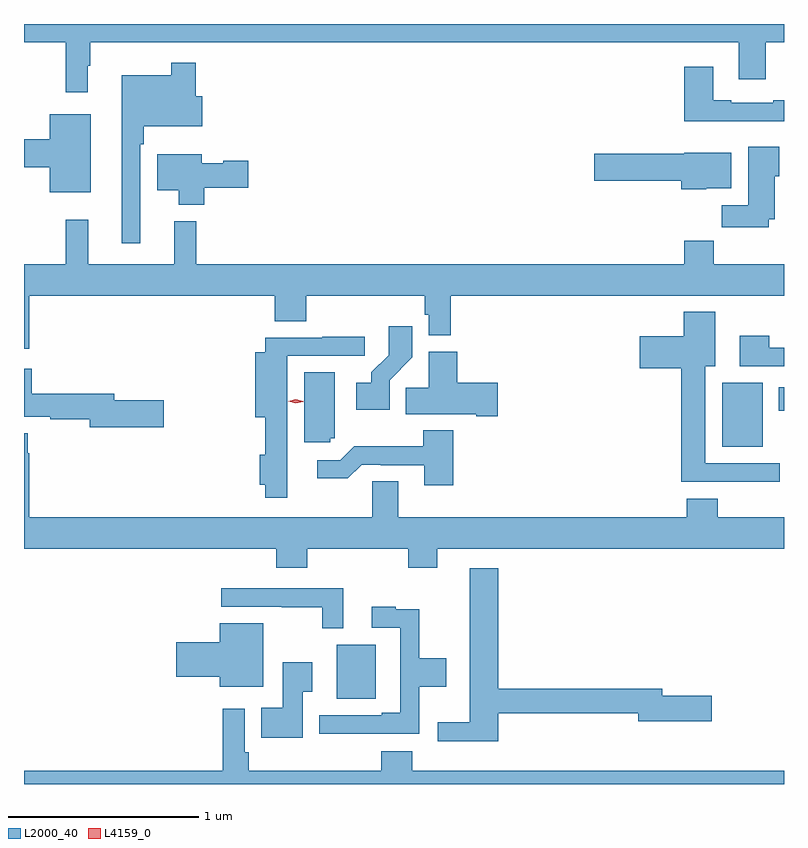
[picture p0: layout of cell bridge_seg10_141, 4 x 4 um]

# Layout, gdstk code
import gdstk
lib = gdstk.Library(unit=1e-6, precision=1e-09)
def R(c, l, rs):  # rectangles x0, y0, x1, y1
    for r in rs: c.add(gdstk.rectangle(r[:2], r[2:], *l))
def P(c, l, *ps):  # polygons
    for p in ps: c.add(gdstk.Polygon(p, *l))
L2000_40 = (2000, 40)
L4159_0 = (4159, 0)

bridge_seg10_141 = lib.new_cell('bridge_seg10_141')
R(bridge_seg10_141, L2000_40, [(335.363,1302.191,335.569,1302.475), (337.394,1303.517,337.606,1303.852), (337.691,1303.706,337.718,1303.828)])
P(bridge_seg10_141, L2000_40, [(333.718,1305.644),(333.937,1305.644),(333.937,1305.381),(334.054,1305.381),(334.054,1305.521),(334.066,1305.521),(334.066,1305.644),(337.481,1305.644),(337.481,1305.45),(337.621,1305.45),(337.621,1305.644),(337.718,1305.644),(337.718,1305.741),(333.718,1305.741)],
  [(334.329,1305.107),(334.349,1305.107),(334.349,1305.203),(334.657,1305.203),(334.657,1305.361),(334.622,1305.361),(334.622,1305.538),(334.494,1305.538),(334.494,1305.472),(334.232,1305.472),(334.232,1304.586),(334.329,1304.586)],
  [(337.718,1305.34),(337.661,1305.34),(337.661,1305.327),(337.441,1305.327),(337.441,1305.34),(337.345,1305.34),(337.345,1305.517),(337.193,1305.517),(337.193,1305.23),(337.718,1305.23)],
  [(334.069,1305.265),(333.854,1305.265),(333.854,1305.134),(333.718,1305.134),(333.718,1304.987),(333.854,1304.987),(333.854,1304.855),(334.069,1304.855)],
  [(337.639,1304.714),(337.669,1304.714),(337.669,1304.94),(337.693,1304.94),(337.693,1305.094),(337.529,1305.094),(337.529,1304.788),(337.39,1304.788),(337.39,1304.67),(337.639,1304.67)],
  [(337.308,1304.876),(337.441,1304.876),(337.441,1305.064),(337.194,1305.064),(337.194,1305.059),(336.72,1305.059),(336.72,1304.917),(337.178,1304.917),(337.178,1304.87),(337.308,1304.87)],
  [(334.667,1304.878),(334.897,1304.878),(334.897,1305.02),(334.767,1305.02),(334.767,1305.007),(334.654,1305.007),(334.654,1305.055),(334.418,1305.055),(334.418,1304.867),(334.532,1304.867),(334.532,1304.789),(334.667,1304.789)],
  [(333.745,1304.312),(335.039,1304.312),(335.039,1304.176),(335.204,1304.176),(335.204,1304.312),(335.827,1304.312),(335.827,1304.211),(335.847,1304.211),(335.847,1304.102),(335.963,1304.102),(335.963,1304.312),(337.718,1304.312),(337.718,1304.476),(337.349,1304.476),(337.349,1304.6),(337.193,1304.6),(337.193,1304.476),(334.625,1304.476),(334.625,1304.704),(334.508,1304.704),(334.508,1304.476),(334.055,1304.476),(334.055,1304.71),(333.937,1304.71),(333.937,1304.476),(333.718,1304.476),(333.718,1304.031),(333.745,1304.031)],
  [(337.696,1303.428),(337.303,1303.428),(337.303,1303.94),(337.357,1303.94),(337.357,1304.227),(337.19,1304.227),(337.19,1304.098),(336.96,1304.098),(336.96,1303.928),(337.178,1303.928),(337.178,1303.331),(337.696,1303.331)],
  [(335.643,1303.867),(335.762,1303.986),(335.762,1304.149),(335.637,1304.149),(335.637,1303.997),(335.546,1303.907),(335.546,1303.852),(335.466,1303.852),(335.466,1303.712),(335.643,1303.712)],
  [(337.718,1304.037),(337.641,1304.037),(337.641,1304.101),(337.485,1304.101),(337.485,1303.941),(337.718,1303.941)],
  [(335.104,1303.47),(335.103,1303.47),(335.103,1303.774),(335.104,1303.774),(335.104,1303.995),(335.512,1303.995),(335.512,1304.094),(335.287,1304.094),(335.287,1304.091),(334.987,1304.091),(334.987,1304.014),(334.934,1304.014),(334.934,1303.67),(334.987,1303.67),(334.987,1303.474),(334.958,1303.474),(334.958,1303.316),(334.987,1303.316),(334.987,1303.248),(335.104,1303.248)],
  [(336.211,1303.854),(335.999,1303.854),(335.999,1304.017),(335.849,1304.017),(335.849,1303.826),(335.728,1303.826),(335.728,1303.688),(336.098,1303.688),(336.098,1303.676),(336.211,1303.676)],
  [(334.453,1303.76),(334.192,1303.76),(334.192,1303.796),(333.76,1303.796),(333.76,1303.927),(333.718,1303.927),(333.718,1303.673),(333.856,1303.673),(333.856,1303.66),(334.064,1303.66),(334.064,1303.618),(334.453,1303.618)],
  [(335.331,1303.56),(335.353,1303.56),(335.353,1303.909),(335.192,1303.909),(335.192,1303.539),(335.331,1303.539)],
  [(335.978,1303.603),(335.818,1303.603),(335.818,1303.519),(335.455,1303.519),(335.382,1303.446),(335.262,1303.446),(335.262,1303.349),(335.423,1303.349),(335.496,1303.422),(335.596,1303.422),(335.596,1303.419),(335.825,1303.419),(335.825,1303.314),(335.978,1303.314)],
  [(335.21,1302.98),(335.741,1302.98),(335.741,1302.878),(335.893,1302.878),(335.893,1302.98),(337.718,1302.98),(337.718,1303.144),(337.37,1303.144),(337.37,1303.243),(337.205,1303.243),(337.205,1303.144),(335.689,1303.144),(335.689,1303.334),(335.55,1303.334),(335.55,1303.144),(333.745,1303.144),(333.745,1303.481),(333.738,1303.481),(333.738,1303.588),(333.718,1303.588),(333.718,1302.98),(335.045,1302.98),(335.045,1302.878),(335.21,1302.878)],
  [(336.215,1302.114),(336.95,1302.114),(336.95,1302.071),(337.339,1302.071),(337.339,1302.206),(337.078,1302.206),(337.078,1302.242),(336.215,1302.242),(336.215,1302.877),(336.065,1302.877),(336.065,1302.065),(335.895,1302.065),(335.895,1301.966),(336.215,1301.966)],
  [(335.398,1302.771),(334.755,1302.771),(334.755,1302.675),(335.074,1302.675),(335.074,1302.67),(335.289,1302.67),(335.289,1302.56),(335.398,1302.56)],
  [(335.513,1302.006),(335.798,1302.006),(335.798,1302.254),(335.941,1302.254),(335.941,1302.402),(335.798,1302.402),(335.798,1302.662),(335.675,1302.662),(335.675,1302.673),(335.547,1302.673),(335.547,1302.564),(335.697,1302.564),(335.697,1302.115),(335.6,1302.115),(335.6,1302.102),(335.271,1302.102),(335.271,1302.005),(335.513,1302.005)],
  [(334.978,1302.586),(334.748,1302.586),(334.748,1302.488),(334.518,1302.488),(334.518,1302.305),(334.748,1302.305),(334.748,1302.254),(334.978,1302.254)],
  [(335.185,1302.226),(335.236,1302.226),(335.236,1302.382),(335.081,1302.382),(335.081,1302.142),(334.966,1302.142),(334.966,1301.984),(335.185,1301.984)],
  [(337.718,1301.812),(335.762,1301.812),(335.762,1301.914),(335.597,1301.914),(335.597,1301.812),(334.901,1301.812),(334.901,1301.908),(334.881,1301.908),(334.881,1302.136),(334.765,1302.136),(334.765,1301.812),(333.718,1301.812),(333.718,1301.741),(337.718,1301.741)])
P(bridge_seg10_141, L4159_0, [(335.148,1303.745),(335.108,1303.756),(335.107,1303.756),(335.108,1303.756),(335.148,1303.765),(335.188,1303.755),(335.189,1303.755),(335.188,1303.754)])

lib.write_gds('bridge_seg10_141.gds')
